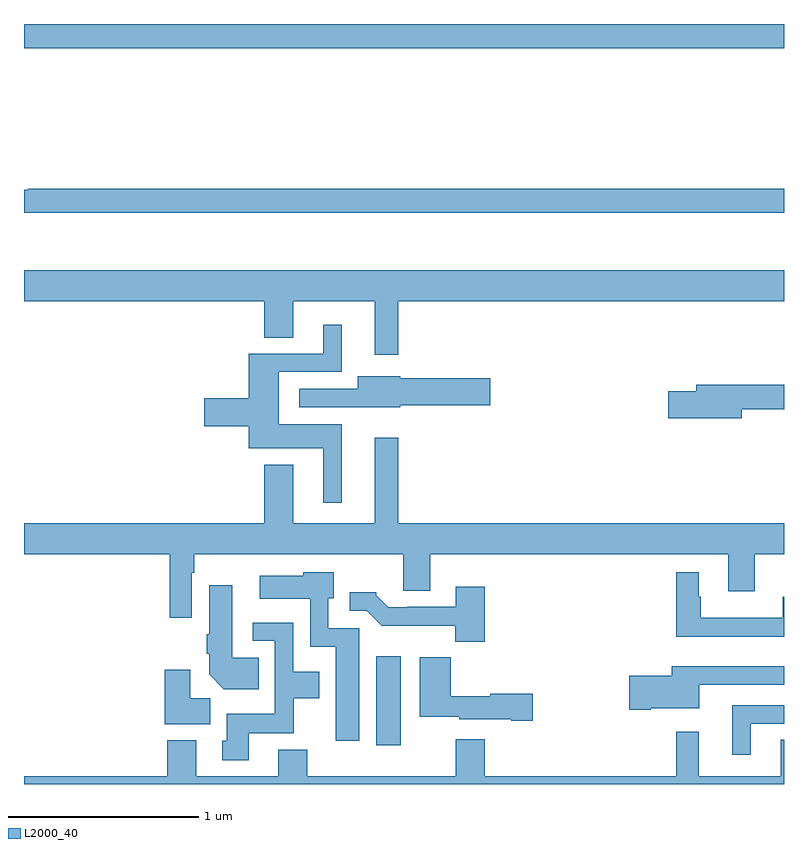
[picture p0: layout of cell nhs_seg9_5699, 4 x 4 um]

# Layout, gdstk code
import gdstk
lib = gdstk.Library(unit=1e-6, precision=1e-09)
def R(c, l, rs):  # rectangles x0, y0, x1, y1
    for r in rs: c.add(gdstk.rectangle(r[:2], r[2:], *l))
def P(c, l, *ps):  # polygons
    for p in ps: c.add(gdstk.Polygon(p, *l))
L2000_40 = (2000, 40)

nhs_seg9_5699 = lib.new_cell('nhs_seg9_5699')
R(nhs_seg9_5699, L2000_40, [(442.853,1240.704,442.984,1241.173), (441,1244.372,445,1244.5)])
P(nhs_seg9_5699, L2000_40, [(445,1243.634),(441.023,1243.634),(441.023,1243.627),(441,1243.627),(441,1243.506),(445,1243.506)],
  [(442.969,1243.04),(445,1243.04),(445,1243.204),(441,1243.204),(441,1243.04),(442.265,1243.04),(442.265,1242.85),(442.417,1242.85),(442.417,1243.04),(442.847,1243.04),(442.847,1242.759),(442.969,1242.759)],
  [(442.672,1242.394),(442.342,1242.394),(442.342,1242.669),(442.672,1242.669),(442.672,1242.916),(442.574,1242.916),(442.574,1242.765),(442.184,1242.765),(442.184,1242.53),(441.948,1242.53),(441.948,1242.383),(442.184,1242.383),(442.184,1242.266),(442.574,1242.266),(442.574,1241.979),(442.672,1241.979)],
  [(442.98,1242.494),(443.455,1242.494),(443.455,1242.636),(442.98,1242.636),(442.98,1242.646),(442.757,1242.646),(442.757,1242.579),(442.449,1242.579),(442.449,1242.483),(442.761,1242.483),(442.761,1242.482),(442.98,1242.482)],
  [(444.778,1242.472),(445,1242.472),(445,1242.601),(444.539,1242.601),(444.539,1242.567),(444.39,1242.567),(444.39,1242.425),(444.778,1242.425)],
  [(441.882,1241.612),(441.895,1241.612),(441.895,1241.708),(442.997,1241.708),(442.997,1241.518),(443.137,1241.518),(443.137,1241.708),(444.707,1241.708),(444.707,1241.514),(444.847,1241.514),(444.847,1241.708),(445,1241.708),(445,1241.872),(442.969,1241.872),(442.969,1242.322),(442.847,1242.322),(442.847,1241.872),(442.417,1241.872),(442.417,1242.181),(442.265,1242.181),(442.265,1241.872),(441,1241.872),(441,1241.708),(441.766,1241.708),(441.766,1241.376),(441.882,1241.376)],
  [(442.765,1241.319),(442.602,1241.319),(442.602,1241.478),(442.63,1241.478),(442.63,1241.614),(442.47,1241.614),(442.47,1241.596),(442.242,1241.596),(442.242,1241.474),(442.506,1241.474),(442.506,1241.222),(442.64,1241.222),(442.64,1240.728),(442.765,1240.728)],
  [(445,1241.486),(444.993,1241.486),(444.993,1241.374),(444.562,1241.374),(444.562,1241.486),(444.55,1241.486),(444.55,1241.614),(444.433,1241.614),(444.433,1241.276),(445,1241.276)],
  [(442.235,1241.164),(442.096,1241.164),(442.096,1241.545),(441.974,1241.545),(441.974,1241.288),(441.962,1241.288),(441.962,1241.185),(441.974,1241.185),(441.974,1241.078),(442.052,1241),(442.235,1241)],
  [(443.426,1241.539),(443.273,1241.539),(443.273,1241.433),(443.017,1241.433),(443.017,1241.43),(442.918,1241.43),(442.854,1241.494),(442.854,1241.509),(442.715,1241.509),(442.715,1241.412),(442.803,1241.412),(442.882,1241.334),(443.271,1241.334),(443.271,1241.249),(443.426,1241.249)],
  [(442.183,1240.766),(442.419,1240.766),(442.419,1240.952),(442.555,1240.952),(442.555,1241.092),(442.416,1241.092),(442.416,1241.349),(442.203,1241.349),(442.203,1241.253),(442.32,1241.253),(442.32,1240.87),(442.067,1240.87),(442.067,1240.728),(442.043,1240.728),(442.043,1240.626),(442.183,1240.626)],
  [(443.677,1240.976),(443.454,1240.976),(443.454,1240.963),(443.246,1240.963),(443.246,1241.167),(443.084,1241.167),(443.084,1240.853),(443.292,1240.853),(443.292,1240.841),(443.564,1240.841),(443.564,1240.834),(443.677,1240.834)],
  [(444.298,1240.898),(444.553,1240.898),(444.553,1241.022),(445,1241.022),(445,1241.119),(444.41,1241.119),(444.41,1241.069),(444.186,1241.069),(444.186,1240.891),(444.298,1240.891)],
  [(441.979,1240.952),(441.874,1240.952),(441.874,1241.101),(441.74,1241.101),(441.74,1240.814),(441.979,1240.814)],
  [(444.826,1240.818),(445,1240.818),(445,1240.914),(444.728,1240.914),(444.728,1240.653),(444.826,1240.653)],
  [(445,1240.733),(444.983,1240.733),(444.983,1240.54),(444.551,1240.54),(444.551,1240.774),(444.433,1240.774),(444.433,1240.54),(443.426,1240.54),(443.426,1240.735),(443.273,1240.735),(443.273,1240.54),(442.49,1240.54),(442.49,1240.681),(442.337,1240.681),(442.337,1240.54),(441.907,1240.54),(441.907,1240.729),(441.755,1240.729),(441.755,1240.54),(441,1240.54),(441,1240.5),(445,1240.5)])

lib.write_gds('nhs_seg9_5699.gds')
